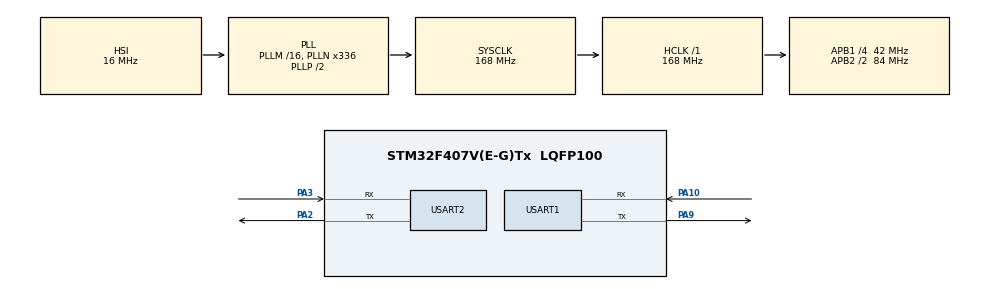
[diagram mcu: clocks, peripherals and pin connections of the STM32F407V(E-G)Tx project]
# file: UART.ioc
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Mcu.Family=STM32F4
Mcu.Name=STM32F407V(E-G)Tx
Mcu.Package=LQFP100
NVIC.PriorityGroup=NVIC_PRIORITYGROUP_4
PA2.Mode=Asynchronous
PA2.Signal=USART2_TX
PA3.Mode=Asynchronous
PA3.Signal=USART2_RX
PA9.Mode=Asynchronous
PA9.Signal=USART1_TX
PA10.Mode=Asynchronous
PA10.Signal=USART1_RX
PA13.Mode=Serial_Wire
PA13.Signal=SYS_JTMS-SWDIO
PA14.Mode=Serial_Wire
PA14.Signal=SYS_JTCK-SWCLK
ProjectManager.HeapSize=0x200
ProjectManager.StackSize=0x400
ProjectManager.TargetToolchain=MDK-ARM V5.32
RCC.AHBFreq_Value=168000000
RCC.APB1Freq_Value=42000000
RCC.APB1TimFreq_Value=84000000
RCC.APB2Freq_Value=84000000
RCC.APB2TimFreq_Value=168000000
RCC.HSE_VALUE=8000000
RCC.HSI_VALUE=16000000
RCC.LSE_VALUE=32768
RCC.PLLM=8
RCC.PLLN=336
RCC.PLLP=RCC_PLLP_DIV2
RCC.PLLQ=7
RCC.SYSCLKFreq_VALUE=168000000
RCC.SYSCLKSource=RCC_SYSCLKSOURCE_PLLCLK
RCC.VCOOutputFreq_Value=336000000
board=custom

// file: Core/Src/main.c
/* USER CODE BEGIN Header */
/**
  ******************************************************************************
  * @file           : main.c
  * @brief          : Main program body
  ******************************************************************************
  * @attention
  *
  * Copyright (c) 2026 STMicroelectronics.
  * All rights reserved.
  *
  * This software is licensed under terms that can be found in the LICENSE file
  * in the root directory of this software component.
  * If no LICENSE file comes with this software, it is provided AS-IS.
  *
  ******************************************************************************
  */
/* USER CODE END Header */
#include "main.h"
#include "gpio.h"
#include "usart.h"

/* USER CODE BEGIN Includes */
#include "g356_driver.h"
/* USER CODE END Includes */

void SystemClock_Config(void);

/* USER CODE BEGIN 0 */

// ==========================================================================
// G356 UART Receiver Demo
//
// This file only demonstrates how to call the reusable G356 driver
// (g356_driver.h/.c). If you're integrating G356 into your own product,
// you only need to copy g356_driver.h/.c — the statistics/pretty-printing
// below are demo-only and can be deleted.
//
// Wiring and protocol details: see g356_driver.h and ../README.md.
// ==========================================================================

// ==========================================
// 调试串口输出辅助函数 (避免依赖大体积的 C 库 printf 及其浮点支持)
// ==========================================
static void G356_UART_PrintString(const char *str)
{
    while (*str) {
        HAL_UART_Transmit(&huart1, (uint8_t *)str, 1, 10);
        str++;
    }
}

static void G356_UART_PrintUint(uint32_t val)
{
    char buf[12];
    int i = 11;
    buf[i] = '\0';
    if (val == 0) {
        G356_UART_PrintString("0");
        return;
    }
    while (val > 0) {
        i--;
        buf[i] = (val % 10) + '0';
        val /= 10;
    }
    G356_UART_PrintString(&buf[i]);
}

static void G356_UART_PrintFloat(float val, int decimals)
{
    // 处理负数
    if (val < 0.0f) {
        G356_UART_PrintString("-");
        val = -val;
    }

    // 四舍五入处理
    float rounding = 0.5f;
    for (int d = 0; d < decimals; d++) {
        rounding /= 10.0f;
    }
    val += rounding;

    // 整数部分
    uint32_t int_part = (uint32_t)val;
    G356_UART_PrintUint(int_part);

    // 小数部分
    if (decimals > 0) {
        G356_UART_PrintString(".");
        float frac = val - (float)int_part;
        for (int d = 0; d < decimals; d++) {
            frac *= 10.0f;
            uint32_t digit = (uint32_t)frac;
            G356_UART_PrintUint(digit);
            frac -= (float)digit;
        }
    }
}

/* USER CODE END 0 */

int main(void)
{

  /* MCU Configuration--------------------------------------------------------*/

  /* Reset of all peripherals, Initializes the Flash interface and the Systick. */
  HAL_Init();

  /* Configure the system clock */
  SystemClock_Config();

  /* Initialize all configured peripherals */
  MX_GPIO_Init();
  MX_USART1_UART_Init();
  MX_USART2_UART_Init();
  /* USER CODE BEGIN 2 */

  HAL_Delay(1000); // 等待 G356 模块内部系统彻底启动并稳定

  G356_UART_PrintString("\r\n");
  G356_UART_PrintString("=========================================\r\n");
  G356_UART_PrintString("   G356 AHRS Module UART Receiver Demo   \r\n");
  G356_UART_PrintString("   MCU: STM32F407VET6 | Baudrate: 115200 \r\n");
  G356_UART_PrintString("   Communication: USART2 (115200, 8N1)   \r\n");
  G356_UART_PrintString("=========================================\r\n");
  G356_UART_PrintString("Starting data reading...\r\n");

  uint8_t rx_frame_buf[G356_MAX_FRAME_SIZE]; // 校验通过的完整帧缓冲区
  G356_Data_t g356_data;                 // 解析后的姿态数据结构体
  uint32_t valid_count = 0;              // 校验通过的帧计数
  uint32_t invalid_count = 0;            // 校验失败的帧计数

  /* USER CODE END 2 */

  /* Infinite loop */
  while (1)
  {

    /* USER CODE BEGIN 3 */
    // G356 以约 100Hz 持续往外发送遥测帧，这里逐字节阻塞接收并喂给状态机
    // (UART 是连续字节流，没有 SPI 那种片选信号天然分帧，所以用状态机
    //  自己识别帧头、定长收集、校验)
    uint8_t byte;
    if (HAL_UART_Receive(&huart2, &byte, 1, HAL_MAX_DELAY) != HAL_OK) {
        continue;
    }
    G356_FrameStatus status = G356_FeedByte(byte, rx_frame_buf);

    if (status == G356_FRAME_VALID) {
        valid_count++;

        G356_ParseData(rx_frame_buf, &g356_data);

        // 每成功读取 20 次 (约 200ms) 打印一次数据，防止串口拥堵
        if (valid_count % 20 == 0) {
            G356_UART_PrintString("ANG[R:");
            G356_UART_PrintFloat(g356_data.roll, 2);
            G356_UART_PrintString(", P:");
            G356_UART_PrintFloat(g356_data.pitch, 2);
            G356_UART_PrintString(", Y:");
            G356_UART_PrintFloat(g356_data.yaw, 2);

            G356_UART_PrintString("] deg | ACC[");
            G356_UART_PrintFloat(g356_data.accel_x, 3);
            G356_UART_PrintString(", ");
            G356_UART_PrintFloat(g356_data.accel_y, 3);
            G356_UART_PrintString(", ");
            G356_UART_PrintFloat(g356_data.accel_z, 3);

            G356_UART_PrintString("] g | GYR[");
            G356_UART_PrintFloat(g356_data.gyro_x, 1);
            G356_UART_PrintString(", ");
            G356_UART_PrintFloat(g356_data.gyro_y, 1);
            G356_UART_PrintString(", ");
            G356_UART_PrintFloat(g356_data.gyro_z, 1);

            G356_UART_PrintString("] dps | Temp:");
            G356_UART_PrintFloat(g356_data.temp, 1);
            G356_UART_PrintString(" C\r\n");
        }
    } else if (status == G356_FRAME_INVALID) {
        invalid_count++;

        // 每失败 100 次打印一次错误警告，方便排查接线/波特率问题
        if (invalid_count % 100 == 0) {
            G356_UART_PrintString("[Warning] Frame validation failed! Valid: ");
            G356_UART_PrintUint(valid_count);
            G356_UART_PrintString(", Invalid: ");
            G356_UART_PrintUint(invalid_count);
            G356_UART_PrintString("\r\n");
        }
    }
    // status == G356_FRAME_PENDING: 还没收完一整帧，继续读下一个字节
  }
  /* USER CODE END 3 */
}

void SystemClock_Config(void)
{
  RCC_OscInitTypeDef RCC_OscInitStruct = {0};
  RCC_ClkInitTypeDef RCC_ClkInitStruct = {0};

  /** Configure the main internal regulator output voltage
  */
  __HAL_RCC_PWR_CLK_ENABLE();
  __HAL_PWR_VOLTAGESCALING_CONFIG(PWR_REGULATOR_VOLTAGE_SCALE1);

  /** Initializes the RCC Oscillators according to the specified parameters
  * in the RCC_OscInitTypeDef structure.
  */
  RCC_OscInitStruct.OscillatorType = RCC_OSCILLATORTYPE_HSI;
  RCC_OscInitStruct.HSIState = RCC_HSI_ON;
  RCC_OscInitStruct.HSICalibrationValue = RCC_HSICALIBRATION_DEFAULT;
  RCC_OscInitStruct.PLL.PLLState = RCC_PLL_ON;
  RCC_OscInitStruct.PLL.PLLSource = RCC_PLLSOURCE_HSI;
  RCC_OscInitStruct.PLL.PLLM = 16;
  RCC_OscInitStruct.PLL.PLLN = 336;
  RCC_OscInitStruct.PLL.PLLP = RCC_PLLP_DIV2;
  RCC_OscInitStruct.PLL.PLLQ = 7;
  if (HAL_RCC_OscConfig(&RCC_OscInitStruct) != HAL_OK)
  {
    Error_Handler();
  }

  /** Initializes the CPU, AHB and APB buses clocks
  */
  RCC_ClkInitStruct.ClockType = RCC_CLOCKTYPE_HCLK|RCC_CLOCKTYPE_SYSCLK
                              |RCC_CLOCKTYPE_PCLK1|RCC_CLOCKTYPE_PCLK2;
  RCC_ClkInitStruct.SYSCLKSource = RCC_SYSCLKSOURCE_PLLCLK;
  RCC_ClkInitStruct.AHBCLKDivider = RCC_SYSCLK_DIV1;
  RCC_ClkInitStruct.APB1CLKDivider = RCC_HCLK_DIV4;
  RCC_ClkInitStruct.APB2CLKDivider = RCC_HCLK_DIV2;

  if (HAL_RCC_ClockConfig(&RCC_ClkInitStruct, FLASH_LATENCY_5) != HAL_OK)
  {
    Error_Handler();
  }
}

void Error_Handler(void)
{
  __disable_irq();
  while (1)
  {
  }
}
